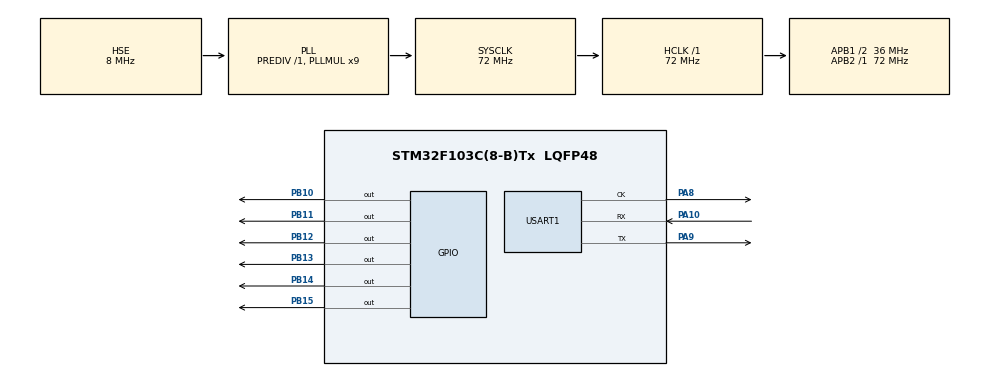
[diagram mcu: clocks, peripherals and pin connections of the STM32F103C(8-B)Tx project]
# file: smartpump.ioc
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Mcu.Family=STM32F1
Mcu.Name=STM32F103C(8-B)Tx
Mcu.Package=LQFP48
NVIC.PriorityGroup=NVIC_PRIORITYGROUP_4
PA10.Mode=Synchronous
PA10.Signal=USART1_RX
PA13.Mode=Serial_Wire
PA13.Signal=SYS_JTMS-SWDIO
PA14.Mode=Serial_Wire
PA14.Signal=SYS_JTCK-SWCLK
PA8.Mode=Synchronous
PA8.Signal=USART1_CK
PA9.Mode=Synchronous
PA9.Signal=USART1_TX
PB10.Signal=GPIO_Output
PB11.Signal=GPIO_Output
PB12.Signal=GPIO_Output
PB13.Signal=GPIO_Output
PB14.Signal=GPIO_Output
PB15.Signal=GPIO_Output
PD0-OSC_IN.Mode=HSE-External-Oscillator
PD0-OSC_IN.Signal=RCC_OSC_IN
PD1-OSC_OUT.Mode=HSE-External-Oscillator
PD1-OSC_OUT.Signal=RCC_OSC_OUT
ProjectManager.HeapSize=0x200
ProjectManager.StackSize=0x400
ProjectManager.TargetToolchain=MDK-ARM V5
RCC.AHBFreq_Value=72000000
RCC.APB1CLKDivider=RCC_HCLK_DIV2
RCC.APB1Freq_Value=36000000
RCC.APB1TimFreq_Value=72000000
RCC.APB2Freq_Value=72000000
RCC.APB2TimFreq_Value=72000000
RCC.HCLKFreq_Value=72000000
RCC.PLLMUL=RCC_PLL_MUL9
RCC.PLLSourceVirtual=RCC_PLLSOURCE_HSE
RCC.SYSCLKFreq_VALUE=72000000
RCC.SYSCLKSource=RCC_SYSCLKSOURCE_PLLCLK
RCC.USBFreq_Value=72000000
USART1.VirtualMode=VM_SYNC
board=smartpump

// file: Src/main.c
/**
  ******************************************************************************
  * @file           : main.c
  * @brief          : Main program body
  ******************************************************************************
  ** This notice applies to any and all portions of this file
  * that are not between comment pairs USER CODE BEGIN and
  * USER CODE END. Other portions of this file, whether
  * inserted by the user or by software development tools
  * are owned by their respective copyright owners.
  *
  * COPYRIGHT(c) 2018 STMicroelectronics
  *
  * Redistribution and use in source and binary forms, with or without modification,
  * are permitted provided that the following conditions are met:
  *   1. Redistributions of source code must retain the above copyright notice,
  *      this list of conditions and the following disclaimer.
  *   2. Redistributions in binary form must reproduce the above copyright notice,
  *      this list of conditions and the following disclaimer in the documentation
  *      and/or other materials provided with the distribution.
  *   3. Neither the name of STMicroelectronics nor the names of its contributors
  *      may be used to endorse or promote products derived from this software
  *      without specific prior written permission.
  *
  * THIS SOFTWARE IS PROVIDED BY THE COPYRIGHT HOLDERS AND CONTRIBUTORS "AS IS"
  * AND ANY EXPRESS OR IMPLIED WARRANTIES, INCLUDING, BUT NOT LIMITED TO, THE
  * IMPLIED WARRANTIES OF MERCHANTABILITY AND FITNESS FOR A PARTICULAR PURPOSE ARE
  * DISCLAIMED. IN NO EVENT SHALL THE COPYRIGHT HOLDER OR CONTRIBUTORS BE LIABLE
  * FOR ANY DIRECT, INDIRECT, INCIDENTAL, SPECIAL, EXEMPLARY, OR CONSEQUENTIAL
  * DAMAGES (INCLUDING, BUT NOT LIMITED TO, PROCUREMENT OF SUBSTITUTE GOODS OR
  * SERVICES; LOSS OF USE, DATA, OR PROFITS; OR BUSINESS INTERRUPTION) HOWEVER
  * CAUSED AND ON ANY THEORY OF LIABILITY, WHETHER IN CONTRACT, STRICT LIABILITY,
  * OR TORT (INCLUDING NEGLIGENCE OR OTHERWISE) ARISING IN ANY WAY OUT OF THE USE
  * OF THIS SOFTWARE, EVEN IF ADVISED OF THE POSSIBILITY OF SUCH DAMAGE.
  *
  ******************************************************************************
  */
#include "main.h"
#include "stm32f1xx_hal.h"

/* USER CODE BEGIN Includes */
//Hung
#include <stdio.h>
#include "nokia_5110.h"
#include "hinh_anh.h"

/* USER CODE END Includes */

USART_HandleTypeDef husart1;

/* USER CODE BEGIN PV */
/* Private variables ---------------------------------------------------------*/

//Hung
int8_t target=0;
unsigned char Data[16];

GPIO_InitTypeDef GPIO_InitStructure;
static __IO uint32_t TimingDelay;
//End Hung

/* USER CODE END PV */

void SystemClock_Config(void);
static void MX_GPIO_Init(void);
static void MX_USART1_Init(void);

/* USER CODE BEGIN PFP */
/* Private function prototypes -----------------------------------------------*/

//Hung
void Delay(__IO uint32_t num)
{
	__IO uint32_t index = 0;
	for(index = (720000 * num); index != 0; index--){}
}

void Delay_ms(__IO uint32_t nTime)
{
	TimingDelay = nTime;
	while(TimingDelay != 0){}
}

void TimingDelay_Decrement(void)
{
	if (TimingDelay != 0x00)
	{
		TimingDelay--;
	}
}

//End Hung

/* USER CODE END PFP */

int main(void)
{

  /* MCU Configuration----------------------------------------------------------*/

  /* Reset of all peripherals, Initializes the Flash interface and the Systick. */
  HAL_Init();

  /* Configure the system clock */
  SystemClock_Config();

  /* Initialize all configured peripherals */
  MX_GPIO_Init();
  MX_USART1_Init();
  /* USER CODE BEGIN 2 */

	//Hung
	LCDInit(0x30, 0, 1);
	Delay(10);

  /* USER CODE END 2 */

  /* Infinite loop */
  while (1)
  {

		LCDClear();
		gotoXY(0, 0);
		LCDString("DuyHung");
		gotoXY(56, 1);
		LCDString(".com");
		gotoXY(0, 3);
		LCDString("Nokia5110-LCD");
		//Delay(15);
		HAL_Delay(5000);
		loop();
		LCDWrite(LCD_CMD, 0x0D);
		//Delay(15);
		HAL_Delay(5000);
		LCDWrite(LCD_CMD, 0x0C);
		//Delay_ms(4000);
		HAL_Delay(10000);

  }

}

void SystemClock_Config(void)
{

  RCC_OscInitTypeDef RCC_OscInitStruct;
  RCC_ClkInitTypeDef RCC_ClkInitStruct;

    /**Initializes the CPU, AHB and APB busses clocks
    */
  RCC_OscInitStruct.OscillatorType = RCC_OSCILLATORTYPE_HSE;
  RCC_OscInitStruct.HSEState = RCC_HSE_ON;
  RCC_OscInitStruct.HSEPredivValue = RCC_HSE_PREDIV_DIV1;
  RCC_OscInitStruct.HSIState = RCC_HSI_ON;
  RCC_OscInitStruct.PLL.PLLState = RCC_PLL_ON;
  RCC_OscInitStruct.PLL.PLLSource = RCC_PLLSOURCE_HSE;
  RCC_OscInitStruct.PLL.PLLMUL = RCC_PLL_MUL9;
  if (HAL_RCC_OscConfig(&RCC_OscInitStruct) != HAL_OK)
  {
    _Error_Handler(__FILE__, __LINE__);
  }

    /**Initializes the CPU, AHB and APB busses clocks
    */
  RCC_ClkInitStruct.ClockType = RCC_CLOCKTYPE_HCLK|RCC_CLOCKTYPE_SYSCLK
                              |RCC_CLOCKTYPE_PCLK1|RCC_CLOCKTYPE_PCLK2;
  RCC_ClkInitStruct.SYSCLKSource = RCC_SYSCLKSOURCE_PLLCLK;
  RCC_ClkInitStruct.AHBCLKDivider = RCC_SYSCLK_DIV1;
  RCC_ClkInitStruct.APB1CLKDivider = RCC_HCLK_DIV2;
  RCC_ClkInitStruct.APB2CLKDivider = RCC_HCLK_DIV1;

  if (HAL_RCC_ClockConfig(&RCC_ClkInitStruct, FLASH_LATENCY_2) != HAL_OK)
  {
    _Error_Handler(__FILE__, __LINE__);
  }

    /**Configure the Systick interrupt time
    */
  HAL_SYSTICK_Config(HAL_RCC_GetHCLKFreq()/1000);

    /**Configure the Systick
    */
  HAL_SYSTICK_CLKSourceConfig(SYSTICK_CLKSOURCE_HCLK);

  /* SysTick_IRQn interrupt configuration */
  HAL_NVIC_SetPriority(SysTick_IRQn, 0, 0);
}

/* USART1 init function */
static void MX_USART1_Init(void)
{

  husart1.Instance = USART1;
  husart1.Init.BaudRate = 115200;
  husart1.Init.WordLength = USART_WORDLENGTH_8B;
  husart1.Init.StopBits = USART_STOPBITS_1;
  husart1.Init.Parity = USART_PARITY_NONE;
  husart1.Init.Mode = USART_MODE_TX_RX;
  husart1.Init.CLKPolarity = USART_POLARITY_LOW;
  husart1.Init.CLKPhase = USART_PHASE_1EDGE;
  husart1.Init.CLKLastBit = USART_LASTBIT_DISABLE;
  if (HAL_USART_Init(&husart1) != HAL_OK)
  {
    _Error_Handler(__FILE__, __LINE__);
  }

}

/** Configure pins as
        * Analog
        * Input
        * Output
        * EVENT_OUT
        * EXTI
*/
static void MX_GPIO_Init(void)
{

  GPIO_InitTypeDef GPIO_InitStruct;

  /* GPIO Ports Clock Enable */
  __HAL_RCC_GPIOD_CLK_ENABLE();
  __HAL_RCC_GPIOB_CLK_ENABLE();
  __HAL_RCC_GPIOA_CLK_ENABLE();

  /*Configure GPIO pin Output Level */
  HAL_GPIO_WritePin(GPIOB, GPIO_PIN_10|GPIO_PIN_11|GPIO_PIN_12|GPIO_PIN_13
                          |GPIO_PIN_14|GPIO_PIN_15, GPIO_PIN_RESET);

  /*Configure GPIO pins : PB10 PB11 PB12 PB13
                           PB14 PB15 */
  GPIO_InitStruct.Pin = GPIO_PIN_10|GPIO_PIN_11|GPIO_PIN_12|GPIO_PIN_13
                          |GPIO_PIN_14|GPIO_PIN_15;
  GPIO_InitStruct.Mode = GPIO_MODE_OUTPUT_PP;
  GPIO_InitStruct.Speed = GPIO_SPEED_FREQ_LOW;
  HAL_GPIO_Init(GPIOB, &GPIO_InitStruct);

}

void _Error_Handler(char *file, int line)
{
  while(1)
  {
  }
}

/************************ (C) COPYRIGHT STMicroelectronics *****END OF FILE****/
